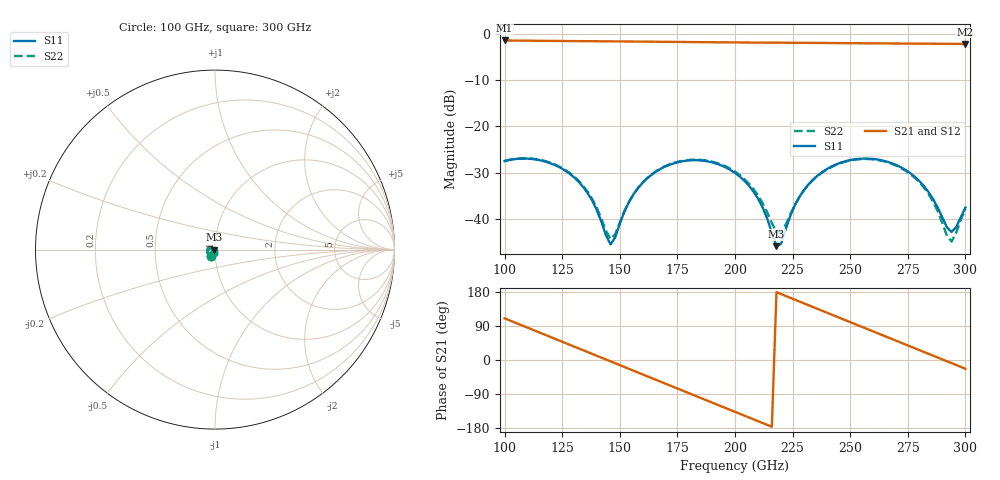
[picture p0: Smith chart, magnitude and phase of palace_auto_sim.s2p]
#  GHZ S DB R 50
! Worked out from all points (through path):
!   101 points, 100 GHz to 300 GHz, reference 50 ohm
!   highest |S21| = -1.38 dB at 100 GHz (marker M1); lowest = -2.1 dB at 300 GHz (marker M2)
!   group delay of S21, straight-line fit = 6.85 ps
!   lowest |S11| = -45.9 dB at 218 GHz (marker M3), VSWR 1.01, Z = 49.5 - j0.0324 ohm
!   |S11| at or under -10 dB: start of sweep to end of sweep
!   |S22| runs from -44.9 to -26.9 dB; largest |S21 - S12| = 9.4e-14
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100  -27.50 -122.7  -1.38 109.9  -1.38 109.9  -27.47 -123.0
108  -26.95 -142.3  -1.42 90.1  -1.42 90.1  -26.89 -142.2
116  -27.39 -161.6  -1.46 70.4  -1.46 70.4  -27.29 -161.1
126  -29.47 175.5  -1.50 45.7  -1.50 45.7  -29.32 176.5
134  -33.05 160.2  -1.53 26.0  -1.53 26.0  -32.81 161.8
140  -38.08 156.5  -1.55 11.2  -1.55 11.2  -37.62 158.9
146  -45.55 -156.5  -1.57 -3.6  -1.57 -3.6  -44.38 -158.7
156  -34.67 -104.9  -1.61 -28.3  -1.61 -28.3  -34.61 -106.5
168  -29.10 -126.4  -1.67 -58.0  -1.67 -58.0  -29.02 -126.5
184  -27.33 -162.7  -1.74 -97.4  -1.74 -97.4  -27.19 -161.8
200  -30.05 161.8  -1.81 -136.8  -1.81 -136.8  -29.78 164.1
210  -35.63 146.0  -1.84 -161.4  -1.84 -161.4  -34.95 150.7
218  -45.92 -176.3  -1.86 178.9  -1.86 178.9  -42.88 -178.0
220  -45.40 -139.7  -1.87 174.0  -1.87 174.0  -43.07 -152.6
228  -35.22 -110.0  -1.89 154.2  -1.89 154.2  -35.22 -117.3
234  -31.45 -118.1  -1.91 139.4  -1.91 139.4  -31.53 -122.9
244  -28.20 -137.9  -1.95 114.8  -1.95 114.8  -28.29 -141.1
252  -27.11 -155.0  -1.98 95.1  -1.98 95.1  -27.20 -157.8
268  -27.95 170.9  -2.03 55.7  -2.03 55.7  -28.08 168.2
282  -32.91 147.1  -2.08 21.2  -2.08 21.2  -33.23 143.0
294  -42.84 -168.8  -2.12 -8.3  -2.12 -8.3  -44.91 -165.1
300  -37.54 -125.9  -2.13 -23.1  -2.13 -23.1  -37.81 -119.8
